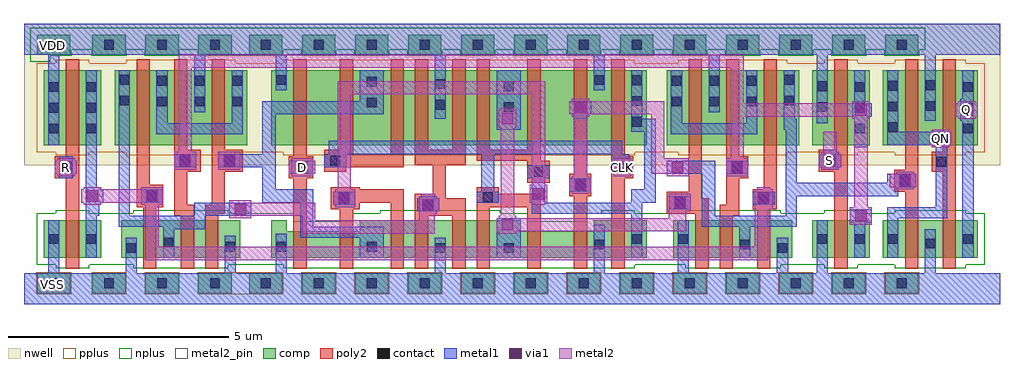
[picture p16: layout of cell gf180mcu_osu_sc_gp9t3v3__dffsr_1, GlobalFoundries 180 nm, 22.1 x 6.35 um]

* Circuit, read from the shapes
.subckt gf180mcu_osu_sc_gp9t3v3__dffsr_1 CLK D Q QN R S VDD VSS
XM1 n1 R VSS VSS nfet_03v3 w=0.85u l=0.3u
XM2 n2 n1 VSS VSS nfet_03v3 w=0.85u l=0.3u
XM3 n3 n4 n2 VSS nfet_03v3 w=0.85u l=0.3u
XM4 VSS n5 n3 VSS nfet_03v3 w=0.85u l=0.3u
XM5 n6 D VSS VSS nfet_03v3 w=0.6u l=0.3u
XM6 n5 n7 n6 VSS nfet_03v3 w=0.6u l=0.3u
XM7 n8 n7 n5 VSS nfet_03v3 w=0.85u l=0.3u
XM8 VSS n2 n8 VSS nfet_03v3 w=0.85u l=0.3u
XM9 n9 n2 VSS VSS nfet_03v3 w=0.85u l=0.3u
XM10 n10 CLK n9 VSS nfet_03v3 w=0.85u l=0.3u
XM11 n11 CLK n10 VSS nfet_03v3 w=0.6u l=0.3u
XM12 VSS n12 n11 VSS nfet_03v3 w=0.6u l=0.3u
XM13 n7 CLK VSS VSS nfet_03v3 w=0.85u l=0.3u
XM14 n13 n10 VSS VSS nfet_03v3 w=0.85u l=0.3u
XM15 n12 n4 n13 VSS nfet_03v3 w=0.85u l=0.3u
XM16 VSS n1 n12 VSS nfet_03v3 w=0.85u l=0.3u
XM17 n4 S VSS VSS nfet_03v3 w=0.85u l=0.3u
XM18 VSS n12 QN VSS nfet_03v3 w=0.85u l=0.3u
XM19 Q QN VSS VSS nfet_03v3 w=0.85u l=0.3u
XM20 n1 R VDD VDD pfet_03v3 w=1.7u l=0.3u
XM21 n14 n1 n2 VDD pfet_03v3 w=1.7u l=0.3u
XM22 VDD n4 n14 VDD pfet_03v3 w=1.7u l=0.3u
XM23 n14 n5 VDD VDD pfet_03v3 w=1.7u l=0.3u
XM24 n15 D VDD VDD pfet_03v3 w=1.7u l=0.3u
XM25 n5 CLK n15 VDD pfet_03v3 w=1.7u l=0.3u
XM26 n16 CLK n5 VDD pfet_03v3 w=1.7u l=0.3u
XM27 VDD n2 n16 VDD pfet_03v3 w=1.7u l=0.3u
XM28 n17 n2 VDD VDD pfet_03v3 w=1.7u l=0.3u
XM29 n10 n7 n17 VDD pfet_03v3 w=1.7u l=0.3u
XM30 n18 n7 n10 VDD pfet_03v3 w=1.7u l=0.3u
XM31 VDD n12 n18 VDD pfet_03v3 w=1.7u l=0.3u
XM32 n7 CLK VDD VDD pfet_03v3 w=1.7u l=0.3u
XM33 VDD n10 n19 VDD pfet_03v3 w=1.7u l=0.3u
XM34 n19 n4 VDD VDD pfet_03v3 w=1.7u l=0.3u
XM35 n12 n1 n19 VDD pfet_03v3 w=1.7u l=0.3u
XM36 n4 S VDD VDD pfet_03v3 w=1.7u l=0.3u
XM37 VDD n12 QN VDD pfet_03v3 w=1.7u l=0.3u
XM38 Q QN VDD VDD pfet_03v3 w=1.7u l=0.3u
.ends

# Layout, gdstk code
import gdstk
lib = gdstk.Library(unit=1e-6, precision=1e-09)
def R(c, l, rs):  # rectangles x0, y0, x1, y1
    for r in rs: c.add(gdstk.rectangle(r[:2], r[2:], *l))
def A(c, l, x, y, w, h, nx, ny, dx, dy):  # array of equal rectangles
    R(c, l, [(x+i*dx, y+j*dy, x+i*dx+w, y+j*dy+h) for i in range(nx) for j in range(ny)])
nwell = (21, 0)
comp = (22, 0)
poly2 = (30, 0)
pplus = (31, 0)
nplus = (32, 0)
contact = (33, 0)
metal1 = (34, 0)
via1 = (35, 0)
metal2 = (36, 0)
metal2_pin = (36, 10)

gf180mcu_osu_sc_gp9t3v3_ = lib.new_cell('gf180mcu_osu_sc_gp9t3v3__dffsr_1')
R(gf180mcu_osu_sc_gp9t3v3_, nwell, [(0,3.15,22.1,6.35)])
A(gf180mcu_osu_sc_gp9t3v3_, comp, 1.55, 0.25, 0.75, 0.45, 3, 2, 1.2, 5.4)
A(gf180mcu_osu_sc_gp9t3v3_, comp, 5.1, 0.25, 0.75, 0.45, 13, 2, 1.2, 5.4)
R(gf180mcu_osu_sc_gp9t3v3_, comp, [(0.3,0.25,1.05,0.7), (0.45,1.05,1.75,1.9), (2.2,1.05,4.9,1.9), (5.6,1.05,14.1,1.65), (14.7,1.05,17.4,1.9), (17.85,1.05,19.15,1.9), (19.45,1.05,21.6,1.9), (5.6,1.65,5.95,1.9), (7.6,1.65,11.25,1.9), (12.9,1.65,14.1,1.9), (0.45,3.6,1.75,5.3), (2.05,3.6,5.05,5.3), (5.6,3.6,14.1,5.3), (14.55,3.6,17.55,5.3), (17.85,3.6,19.15,5.3), (19.45,3.6,21.6,5.3), (0.3,5.65,1.05,6.1)])
R(gf180mcu_osu_sc_gp9t3v3_, poly2, [(0.95,0.8,1.25,2.85), (2.7,0.8,3,2.2), (3.55,0.8,3.85,2), (4.1,0.8,4.4,2.05), (6.1,0.8,6.4,2.85), (7.15,0.8,7.45,2.15), (8.3,0.8,8.6,2.3), (8.85,0.8,9.15,2), (9.7,0.8,10,2), (10.25,0.8,10.55,2.2), (11.4,0.8,11.7,2.2), (12.45,0.8,12.75,2.45), (13.3,0.8,13.6,2.85), (15.2,0.8,15.5,2.05), (15.75,0.8,16.05,2), (16.6,0.8,16.9,2.15), (18.35,0.8,18.65,3), (19.95,0.8,20.25,2.55), (20.8,0.8,21.1,3), (3.4,2,3.85,2.25), (8.85,2,10,2.4), (15.75,2,16.2,2.25), (4.1,2.05,4.55,2.25), (14.55,2.05,15.5,2.4), (6.95,2.15,7.6,2.3), (16.5,2.15,17.05,2.6), (2.55,2.2,3.15,2.7), (10.25,2.2,11.7,2.5), (3.4,2.25,3.7,3), (4.25,2.25,4.55,3), (15.9,2.25,16.2,2.85), (6.95,2.3,8.6,2.6), (8.85,2.4,9.55,2.5), (14.55,2.4,15.35,2.55), (12.35,2.45,12.85,2.95), (9.25,2.5,9.55,3.15), (10.25,2.5,10.75,2.65), (15.05,2.55,15.35,5.55), (19.7,2.55,20.25,3.05), (6.95,2.6,7.6,2.65), (16.75,2.6,17.05,5.55), (2.55,2.7,2.85,5.55), (11.4,2.75,11.9,3.25), (0.7,2.85,1.25,3.35), (6,2.85,6.55,3.35), (13.3,2.85,13.8,3.35), (15.9,2.85,16.4,3.35), (12.45,2.95,12.75,5.55), (3.4,3,4,3.5), (4.25,3,4.95,3.5), (6.8,3,7.3,3.1), (18,3,18.65,3.5), (20.55,3,21.1,3.45), (19.95,3.05,20.25,5.55), (6.8,3.1,8.6,3.4), (8.85,3.15,10,3.5), (10.25,3.25,11.7,3.5), (0.95,3.35,1.25,5.55), (6.1,3.35,6.4,5.55), (13.3,3.35,13.6,5.55), (15.9,3.35,16.2,5.55), (6.8,3.4,7.45,3.5), (8.3,3.4,8.6,5.55), (20.8,3.45,21.1,5.55), (3.4,3.5,3.7,5.55), (4.25,3.5,4.55,5.55), (7.15,3.5,7.45,5.55), (8.85,3.5,9.15,5.55), (9.7,3.5,10,5.55), (10.25,3.5,10.55,5.55), (11.4,3.5,11.7,5.55), (18.35,3.5,18.65,5.55)])
A(gf180mcu_osu_sc_gp9t3v3_, pplus, 6.28, 0.23, 0.79, 0.49, 12, 1, 1.2, 0)
R(gf180mcu_osu_sc_gp9t3v3_, pplus, [(0.28,0.23,1.07,0.72), (1.53,0.23,2.32,0.72), (2.73,0.23,3.52,0.72), (3.93,0.23,5.87,0.72), (0.72,3.37,1.48,3.44), (2.32,3.37,4.78,3.44), (5.87,3.37,13.83,3.44), (14.82,3.37,17.28,3.44), (18.12,3.37,18.88,3.44), (19.72,3.37,21.33,3.44), (0.29,3.44,21.76,5.46), (0.72,5.46,1.48,5.53), (2.32,5.46,4.78,5.53), (5.87,5.46,13.83,5.53), (14.82,5.46,17.28,5.53), (18.12,5.46,18.88,5.53), (19.72,5.46,21.33,5.53)])
A(gf180mcu_osu_sc_gp9t3v3_, nplus, 6.28, 5.63, 0.79, 0.13, 12, 1, 1.2, 0)
R(gf180mcu_osu_sc_gp9t3v3_, nplus, [(0.72,0.82,1.48,0.89), (2.47,0.82,4.63,0.89), (5.87,0.82,13.83,0.89), (14.97,0.82,17.13,0.89), (18.12,0.82,18.88,0.89), (19.72,0.82,21.33,0.89), (0.29,0.89,21.76,1.88), (0.29,1.88,6.11,2.06), (7.44,1.88,11.41,2.06), (12.74,1.88,21.76,2.06), (0.72,2.06,1.48,2.13), (2.47,2.06,4.63,2.13), (8.07,2.06,10.78,2.13), (13.07,2.06,13.83,2.13), (14.97,2.06,17.13,2.13), (18.12,2.06,18.88,2.13), (19.72,2.06,21.33,2.13), (0.14,5.49,0.59,5.63), (0.14,5.63,1.07,5.76), (1.53,5.63,2.32,5.76), (2.73,5.63,3.52,5.76), (3.93,5.63,5.87,5.76), (0.14,5.76,20.41,6.26)])
A(gf180mcu_osu_sc_gp9t3v3_, contact, 1.815, 0.365, 0.22, 0.22, 3, 2, 1.2, 5.4)
A(gf180mcu_osu_sc_gp9t3v3_, contact, 5.365, 0.365, 0.22, 0.22, 13, 2, 1.2, 5.4)
A(gf180mcu_osu_sc_gp9t3v3_, contact, 0.565, 3.87, 0.22, 0.22, 1, 3, 0, 0.47)
A(gf180mcu_osu_sc_gp9t3v3_, contact, 1.415, 3.87, 0.22, 0.22, 1, 3, 0, 0.47)
A(gf180mcu_osu_sc_gp9t3v3_, contact, 18.815, 3.87, 0.22, 0.22, 1, 3, 0, 0.47)
A(gf180mcu_osu_sc_gp9t3v3_, contact, 21.265, 3.87, 0.22, 0.22, 1, 3, 0, 0.47)
A(gf180mcu_osu_sc_gp9t3v3_, contact, 19.565, 3.895, 0.22, 0.22, 1, 3, 0, 0.47)
A(gf180mcu_osu_sc_gp9t3v3_, contact, 13.765, 4.02, 0.22, 0.22, 1, 3, 0, 0.47)
A(gf180mcu_osu_sc_gp9t3v3_, contact, 3.015, 4.48, 0.22, 0.22, 3, 2, 0.85, 0.47)
A(gf180mcu_osu_sc_gp9t3v3_, contact, 14.665, 4.48, 0.22, 0.22, 3, 2, 0.85, 0.47)
R(gf180mcu_osu_sc_gp9t3v3_, contact, [(0.565,0.365,0.785,0.585), (2.315,1.165,2.535,1.385), (9.315,1.165,9.535,1.385), (10.865,1.165,11.085,1.385), (17.065,1.165,17.285,1.385), (4.565,1.19,4.785,1.41), (5.715,1.19,5.935,1.41), (7.765,1.19,7.985,1.41), (12.915,1.24,13.135,1.46), (16.215,1.24,16.435,1.46), (20.415,1.265,20.635,1.485), (3.165,1.29,3.385,1.51), (0.565,1.365,0.785,1.585), (1.415,1.365,1.635,1.585), (13.765,1.365,13.985,1.585), (14.815,1.365,15.035,1.585), (17.965,1.365,18.185,1.585), (18.815,1.365,19.035,1.585), (19.565,1.365,19.785,1.585), (21.265,1.365,21.485,1.585), (9.04,2.14,9.26,2.36), (14.74,2.19,14.96,2.41), (16.64,2.265,16.86,2.485), (7.14,2.29,7.36,2.51), (10.39,2.315,10.61,2.535), (2.79,2.34,3.01,2.56), (12.49,2.59,12.71,2.81), (19.84,2.69,20.06,2.91), (11.54,2.89,11.76,3.11), (0.84,2.99,1.06,3.21), (6.19,2.99,6.41,3.21), (13.44,2.99,13.66,3.21), (16.04,2.99,16.26,3.21), (20.665,3.115,20.885,3.335), (3.54,3.14,3.76,3.36), (4.54,3.14,4.76,3.36), (6.94,3.14,7.16,3.36), (18.14,3.14,18.36,3.36), (10.865,4.355,11.085,4.575), (17.965,4.355,18.185,4.575), (20.415,4.38,20.635,4.6), (9.315,4.405,9.535,4.625), (7.765,4.455,7.985,4.675), (2.165,4.505,2.385,4.725), (17.215,4.505,17.435,4.725), (10.865,4.825,11.085,5.045), (17.965,4.825,18.185,5.045), (20.415,4.85,20.635,5.07), (9.315,4.875,9.535,5.095), (7.765,4.925,7.985,5.145), (5.715,4.965,5.935,5.185), (12.915,4.965,13.135,5.185), (2.165,4.975,2.385,5.195), (17.215,4.975,17.435,5.195), (0.565,5.765,0.785,5.985)])
R(gf180mcu_osu_sc_gp9t3v3_, metal1, [(0,0,22.1,0.7), (0.55,0.7,0.8,1.9), (2.3,0.7,2.55,1.5), (4.55,0.7,4.8,1.55), (5.7,0.7,5.95,1.6), (9.3,0.7,9.55,1.5), (12.9,0.7,13.15,1.8), (14.8,0.7,15.05,1.9), (17.05,0.7,17.3,1.5), (17.95,0.7,18.2,1.9), (20.4,0.7,20.65,1.7), (1.4,1.05,1.65,2), (3.15,1.05,3.4,1.7), (7.6,1.05,8.15,1.5), (10.7,1.05,11.25,1.95), (13.75,1.05,14,2.05), (16.2,1.05,16.45,1.75), (18.8,1.05,19.05,1.85), (19.55,1.05,19.8,1.95), (21.25,1.05,21.5,4.15), (6.25,1.5,8.15,1.75), (3.15,1.7,4.1,1.75), (2.15,1.75,4.1,2), (6.25,1.75,6.55,2.3), (15.35,1.75,17.5,2), (18.7,1.85,19.2,2.15), (19.55,1.95,20.9,2.2), (1.4,2,1.7,2.3), (2.15,2,2.4,5.3), (3.85,2,5.15,2.3), (15.35,2,15.65,2.95), (17.25,2,17.5,2.45), (11.5,2.05,14,2.3), (8.9,2.1,9.4,2.4), (14.6,2.15,15.1,2.45), (20.65,2.2,20.9,3.55), (7,2.25,7.5,2.55), (16.5,2.25,17,2.55), (1.4,2.3,1.8,2.6), (2.65,2.3,3.15,2.6), (5.4,2.3,6.55,2.6), (10.25,2.3,10.75,2.55), (11.5,2.3,11.8,2.85), (13.75,2.3,14.3,2.6), (9,2.4,9.3,2.45), (17.25,2.45,19.8,2.65), (10.35,2.55,10.65,3.4), (12.35,2.55,12.85,2.85), (1.4,2.6,1.7,2.65), (5.4,2.6,5.7,3.1), (14.05,2.6,14.3,3.9), (1.4,2.65,1.65,5.3), (17.25,2.65,20.2,2.75), (17.25,2.75,17.5,3.95), (19.55,2.75,20.2,2.95), (0.8,2.85,1.1,3.35), (11.4,2.85,11.9,3.15), (6.05,2.95,6.55,3.25), (13.3,2.95,13.8,3.25), (14.55,2.95,15.65,3.25), (15.9,2.95,16.4,3.25), (18.1,3.05,18.4,3.1), (3.4,3.1,3.9,3.4), (4.4,3.1,5.7,3.4), (6.8,3.1,7.3,3.4), (18,3.1,18.5,3.4), (13.3,3.25,13.7,3.4), (5.4,3.4,5.7,4.3), (6.9,3.4,13.55,3.7), (18.1,3.4,18.4,3.5), (18.8,3.55,19.1,4.25), (20.6,3.55,20.9,3.6), (0.55,3.6,0.8,5.65), (19.55,3.6,21,3.9), (3,3.85,4.95,4.1), (14.65,3.85,16.6,4.1), (13.75,3.9,14.3,4.2), (19.55,3.9,19.8,5.3), (10.7,3.95,11.25,5.3), (17.2,3.95,17.5,4.2), (3,4.1,3.25,5.3), (4.7,4.1,4.95,5.3), (14.65,4.1,14.9,5.3), (16.35,4.1,16.6,5.3), (17.95,4.1,18.2,5.65), (20.4,4.15,20.65,5.65), (21.2,4.15,21.5,4.65), (9.3,4.2,9.55,5.65), (12.45,4.2,12.75,4.3), (13.75,4.2,14,5.3), (17.2,4.2,17.45,5.3), (18.75,4.25,19.2,4.55), (5.4,4.3,8.15,4.6), (12.35,4.3,12.85,4.6), (3.85,4.35,4.1,5.65), (15.5,4.35,15.75,5.65), (18.8,4.55,19.05,5.3), (7.6,4.6,8.15,5.3), (21.25,4.65,21.5,5.3), (5.7,4.85,5.95,5.65), (12.9,4.85,13.15,5.65), (0,5.65,22.1,6.35)])
R(gf180mcu_osu_sc_gp9t3v3_, via1, [(10.82,1.67,11.08,1.93), (18.82,1.87,19.08,2.13), (4.77,2.02,5.03,2.28), (9.02,2.12,9.28,2.38), (14.72,2.17,14.98,2.43), (7.12,2.27,7.38,2.53), (16.62,2.27,16.88,2.53), (1.42,2.32,1.68,2.58), (2.77,2.32,3.03,2.58), (11.52,2.37,11.78,2.63), (12.47,2.57,12.73,2.83), (19.82,2.67,20.08,2.93), (0.82,2.97,1.08,3.23), (6.17,2.97,6.43,3.23), (13.42,2.97,13.68,3.23), (14.67,2.97,14.93,3.23), (16.02,2.97,16.28,3.23), (3.52,3.12,3.78,3.38), (4.52,3.12,4.78,3.38), (18.12,3.12,18.38,3.38), (20.62,3.62,20.88,3.88), (10.82,4.07,11.08,4.33), (18.82,4.27,19.08,4.53), (21.22,4.27,21.48,4.53), (12.47,4.32,12.73,4.58)])
R(gf180mcu_osu_sc_gp9t3v3_, metal2, [(2.75,1,16.85,1.3), (2.75,1.3,3.05,2.25), (16.55,1.3,16.85,2.15), (6.3,1.6,9.3,1.9), (10.75,1.6,11.15,1.65), (10.7,1.65,15,1.95), (18.7,1.8,19.2,2.2), (6.3,1.9,6.6,2), (8.95,1.9,9.3,2.05), (4.65,1.95,5.15,2), (10.75,1.95,11.15,2), (14.6,1.95,15,2.1), (4.65,2,6.6,2.3), (10.8,2,11.1,4), (8.95,2.05,9.35,2.1), (8.95,2.1,9.4,2.4), (14.6,2.1,15.1,2.5), (16.55,2.15,16.95,2.6), (7.05,2.2,7.5,2.25), (18.8,2.2,19.1,4.2), (1.35,2.25,1.75,2.3), (2.65,2.25,3.15,2.3), (7,2.25,7.5,2.55), (11.5,2.25,11.8,2.3), (1.3,2.3,3.15,2.6), (4.65,2.3,5.15,2.35), (11.45,2.3,11.85,2.7), (8.95,2.4,9.35,2.45), (9,2.45,9.3,2.5), (12.4,2.5,12.8,2.55), (7.05,2.55,7.5,2.6), (12.35,2.55,12.85,2.85), (1.35,2.6,1.75,2.65), (2.65,2.6,3.15,2.65), (7.1,2.6,7.4,4.75), (16.6,2.6,16.9,2.65), (19.75,2.6,20.15,2.65), (19.6,2.65,20.2,2.95), (11.5,2.7,11.8,4.75), (12.4,2.85,12.8,2.9), (0.75,2.9,1.15,2.95), (6.05,2.9,6.55,2.95), (12.45,2.9,12.75,4.25), (13.35,2.9,13.75,2.95), (14.55,2.9,15.05,2.95), (15.9,2.9,16.4,3.3), (0.7,2.95,1.2,3.25), (6,2.95,6.6,3.25), (13.3,2.95,13.8,3.25), (14.2,2.95,15.05,3.3), (19.75,2.95,20.15,3), (3.4,3.05,3.9,3.45), (4.4,3.05,4.9,3.45), (18.05,3.05,18.45,3.1), (18,3.1,18.5,3.4), (0.75,3.25,1.15,3.3), (6.05,3.25,6.55,3.3), (13.35,3.25,13.75,3.3), (14.2,3.3,14.5,4.3), (16,3.3,16.3,4.25), (18.05,3.4,18.45,3.45), (3.5,3.45,3.8,5.35), (18.1,3.45,18.4,3.9), (20.55,3.55,20.95,3.6), (20.5,3.6,21,3.9), (20.55,3.9,20.95,3.95), (10.75,4,11.15,4.4), (18.75,4.2,19.15,4.25), (21.15,4.2,21.55,4.25), (12.4,4.25,12.8,4.3), (16,4.25,19.15,4.55), (21.1,4.25,21.6,4.55), (12.35,4.3,14.5,4.6), (10.8,4.4,11.1,4.45), (16,4.55,16.3,5.35), (18.75,4.55,19.15,4.6), (21.15,4.55,21.55,4.6), (12.4,4.6,12.8,4.65), (7.1,4.75,11.8,5.05), (3.5,5.35,16.3,5.65)])
R(gf180mcu_osu_sc_gp9t3v3_, metal2_pin, [(0.8,2.95,1.1,3.25), (18.1,3.1,18.4,3.4)])
gf180mcu_osu_sc_gp9t3v3_.add(gdstk.Label('VDD', (0.65,5.85), layer=34, texttype=10))
gf180mcu_osu_sc_gp9t3v3_.add(gdstk.Label('VSS', (0.65,0.45), layer=34, texttype=10))
gf180mcu_osu_sc_gp9t3v3_.add(gdstk.Label('D', (6.3,3.1), layer=36, texttype=10))
gf180mcu_osu_sc_gp9t3v3_.add(gdstk.Label('CLK', (13.55,3.1), layer=36, texttype=10))
gf180mcu_osu_sc_gp9t3v3_.add(gdstk.Label('Q', (21.35,4.4), layer=36, texttype=10))
gf180mcu_osu_sc_gp9t3v3_.add(gdstk.Label('QN', (20.75,3.75), layer=36, texttype=10))
gf180mcu_osu_sc_gp9t3v3_.add(gdstk.Label('S', (18.25,3.25), layer=36, texttype=10))
gf180mcu_osu_sc_gp9t3v3_.add(gdstk.Label('R', (0.95,3.1), layer=36, texttype=10))

lib.write_gds('gf180mcu_osu_sc_gp9t3v3__dffsr_1.gds')
